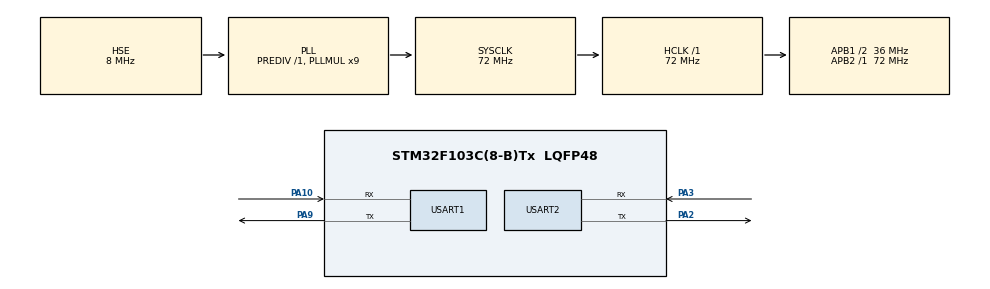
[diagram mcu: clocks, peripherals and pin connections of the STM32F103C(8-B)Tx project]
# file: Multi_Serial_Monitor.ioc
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Mcu.Family=STM32F1
Mcu.Name=STM32F103C(8-B)Tx
Mcu.Package=LQFP48
NVIC.PriorityGroup=NVIC_PRIORITYGROUP_4
NVIC.USART1_IRQn=true\:0\:0\:false\:false\:true\:true\:true\:true
NVIC.USART2_IRQn=true\:0\:0\:false\:false\:true\:true\:true\:true
PA10.Mode=Asynchronous
PA10.Signal=USART1_RX
PA13.Mode=Serial_Wire
PA13.Signal=SYS_JTMS-SWDIO
PA14.Mode=Serial_Wire
PA14.Signal=SYS_JTCK-SWCLK
PA2.Mode=Asynchronous
PA2.Signal=USART2_TX
PA3.Mode=Asynchronous
PA3.Signal=USART2_RX
PA9.Mode=Asynchronous
PA9.Signal=USART1_TX
PC14-OSC32_IN.Mode=LSE-External-Oscillator
PC14-OSC32_IN.Signal=RCC_OSC32_IN
PC15-OSC32_OUT.Mode=LSE-External-Oscillator
PC15-OSC32_OUT.Signal=RCC_OSC32_OUT
PD0-OSC_IN.Mode=HSE-External-Oscillator
PD0-OSC_IN.Signal=RCC_OSC_IN
PD1-OSC_OUT.Mode=HSE-External-Oscillator
PD1-OSC_OUT.Signal=RCC_OSC_OUT
ProjectManager.HeapSize=0x200
ProjectManager.StackSize=0x400
ProjectManager.TargetToolchain=STM32CubeIDE
RCC.AHBFreq_Value=72000000
RCC.APB1CLKDivider=RCC_HCLK_DIV2
RCC.APB1Freq_Value=36000000
RCC.APB1TimFreq_Value=72000000
RCC.APB2Freq_Value=72000000
RCC.APB2TimFreq_Value=72000000
RCC.HCLKFreq_Value=72000000
RCC.PLLMUL=RCC_PLL_MUL9
RCC.PLLSourceVirtual=RCC_PLLSOURCE_HSE
RCC.SYSCLKFreq_VALUE=72000000
RCC.SYSCLKSource=RCC_SYSCLKSOURCE_PLLCLK
RCC.USBFreq_Value=72000000
USART1.VirtualMode=VM_ASYNC
USART2.VirtualMode=VM_ASYNC
board=custom

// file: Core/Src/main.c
/* USER CODE BEGIN Header */
/**
  ******************************************************************************
  * @file           : main.c
  * @brief          : Main program body
  ******************************************************************************
  * @attention
  *
  * Copyright (c) 2025 STMicroelectronics.
  * All rights reserved.
  *
  * This software is licensed under terms that can be found in the LICENSE file
  * in the root directory of this software component.
  * If no LICENSE file comes with this software, it is provided AS-IS.
  *
  ******************************************************************************
  */
/* USER CODE END Header */
#include "main.h"
#include "usart.h"
#include "gpio.h"

/* USER CODE BEGIN Includes */
#include <stdio.h>
/* USER CODE END Includes */

/* USER CODE BEGIN PTD */
#define LENGTH 64
/* USER CODE END PTD */

/* USER CODE BEGIN PV */
uint8_t Rxbuff1[LENGTH];
uint8_t Rxbuff2[LENGTH];
/* USER CODE END PV */

void SystemClock_Config(void);
/* USER CODE BEGIN PFP */
void USART_SendString(UART_HandleTypeDef *huart, char *str);
/* USER CODE END PFP */

int main(void)
{

  /* MCU Configuration--------------------------------------------------------*/

  /* Reset of all peripherals, Initializes the Flash interface and the Systick. */
  HAL_Init();

  /* Configure the system clock */
  SystemClock_Config();

  /* Initialize all configured peripherals */
  MX_GPIO_Init();
  MX_USART1_UART_Init();
  MX_USART2_UART_Init();
  /* USER CODE BEGIN 2 */
  HAL_UARTEx_ReceiveToIdle_IT(&huart1, Rxbuff1, LENGTH);
  HAL_UARTEx_ReceiveToIdle_IT(&huart2, Rxbuff2, LENGTH);
  printf("ready to go!\r\n");
  /* USER CODE END 2 */

  /* Infinite loop */
  while (1)
  {

  }
}

void SystemClock_Config(void)
{
  RCC_OscInitTypeDef RCC_OscInitStruct = {0};
  RCC_ClkInitTypeDef RCC_ClkInitStruct = {0};

  /** Initializes the RCC Oscillators according to the specified parameters
  * in the RCC_OscInitTypeDef structure.
  */
  RCC_OscInitStruct.OscillatorType = RCC_OSCILLATORTYPE_HSE;
  RCC_OscInitStruct.HSEState = RCC_HSE_ON;
  RCC_OscInitStruct.HSEPredivValue = RCC_HSE_PREDIV_DIV1;
  RCC_OscInitStruct.HSIState = RCC_HSI_ON;
  RCC_OscInitStruct.PLL.PLLState = RCC_PLL_ON;
  RCC_OscInitStruct.PLL.PLLSource = RCC_PLLSOURCE_HSE;
  RCC_OscInitStruct.PLL.PLLMUL = RCC_PLL_MUL9;
  if (HAL_RCC_OscConfig(&RCC_OscInitStruct) != HAL_OK)
  {
    Error_Handler();
  }

  /** Initializes the CPU, AHB and APB buses clocks
  */
  RCC_ClkInitStruct.ClockType = RCC_CLOCKTYPE_HCLK|RCC_CLOCKTYPE_SYSCLK
                              |RCC_CLOCKTYPE_PCLK1|RCC_CLOCKTYPE_PCLK2;
  RCC_ClkInitStruct.SYSCLKSource = RCC_SYSCLKSOURCE_PLLCLK;
  RCC_ClkInitStruct.AHBCLKDivider = RCC_SYSCLK_DIV1;
  RCC_ClkInitStruct.APB1CLKDivider = RCC_HCLK_DIV2;
  RCC_ClkInitStruct.APB2CLKDivider = RCC_HCLK_DIV1;

  if (HAL_RCC_ClockConfig(&RCC_ClkInitStruct, FLASH_LATENCY_2) != HAL_OK)
  {
    Error_Handler();
  }
}

/* USER CODE BEGIN 4 */
void HAL_UARTEx_RxEventCallback(UART_HandleTypeDef *huart, uint16_t Size)
{
  if(huart->Instance == USART1)
  {
    USART_SendString(&huart1, "\r\nUSART1 received data,send to USART2:\r\n");
    HAL_UART_Transmit_IT(&huart2, Rxbuff1, Size);
    USART_SendString(&huart1, "\r\nUSART1 Sending finished\r\n");
    HAL_UARTEx_ReceiveToIdle_IT (&huart1, Rxbuff1, LENGTH);
  }
  else if(huart->Instance == USART2)
  {
    USART_SendString(&huart2, "\r\nUSART2 received data,send to USART1:\r\n");
    HAL_UART_Transmit_IT(&huart1, Rxbuff2, Size);
    USART_SendString(&huart2, "\r\nUSART2 Sending finished\r\n");
    HAL_UARTEx_ReceiveToIdle_IT(&huart2, Rxbuff2, LENGTH);
  }
}

void USART_SendString(UART_HandleTypeDef *huart, char *str)
{
  while (*str)
  {
    HAL_UART_Transmit(huart, (uint8_t *)str, 1, HAL_MAX_DELAY);
    str++;
  }
}

int _write(int file, char *ptr, int len)
{
  HAL_UART_Transmit(&huart1, (uint8_t *)ptr, len, HAL_MAX_DELAY);
  return len;
}
/* USER CODE END 4 */

void Error_Handler(void)
{
  __disable_irq();
  while (1)
  {
  }
}
